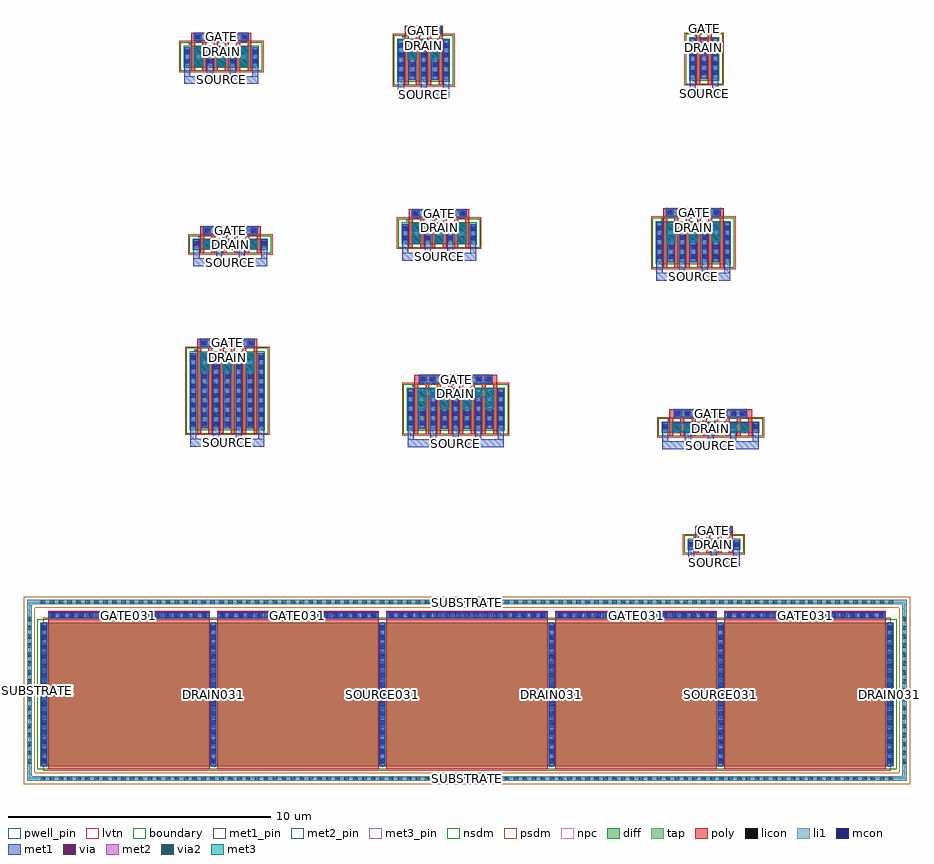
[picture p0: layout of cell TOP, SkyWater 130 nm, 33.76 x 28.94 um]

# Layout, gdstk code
import gdstk
lib = gdstk.Library(unit=1e-6, precision=1e-09)
def R(c, l, rs):  # rectangles x0, y0, x1, y1
    for r in rs: c.add(gdstk.rectangle(r[:2], r[2:], *l))
def A(c, l, x, y, w, h, nx, ny, dx, dy):  # array of equal rectangles
    R(c, l, [(x+i*dx, y+j*dy, x+i*dx+w, y+j*dy+h) for i in range(nx) for j in range(ny)])
diff = (65, 20)
tap = (65, 44)
poly = (66, 20)
licon = (66, 44)
li1 = (67, 20)
mcon = (67, 44)
met1_pin = (68, 16)
met1 = (68, 20)
via = (68, 44)
met2_pin = (69, 16)
met2 = (69, 20)
via2 = (69, 44)
met3_pin = (70, 16)
met3 = (70, 20)
nsdm = (93, 44)
psdm = (94, 20)
npc = (95, 20)
pwell_pin = (122, 16)
lvtn = (125, 44)
boundary = (235, 4)

top = lib.new_cell('TOP')
A(top, diff, 5015.401, 15982.327, 0.28, 0.42, 3, 1, 0.43, 0)
A(top, diff, 5015.431, 15982.327, 0.25, 0.42, 3, 1, 0.86, 0)
A(top, diff, 5015.681, 15982.327, 0.15, 0.42, 4, 1, 0.43, 0)
A(top, diff, 5016.261, 15982.327, 0.28, 0.42, 3, 1, 0.43, 0)
A(top, diff, 5014.414, 15986.782, 0.28, 0.42, 3, 1, 0.43, 0)
A(top, diff, 5014.444, 15986.782, 0.25, 0.42, 4, 1, 0.86, 0)
A(top, diff, 5014.694, 15986.782, 0.15, 0.42, 8, 1, 0.43, 0)
A(top, diff, 5015.274, 15986.782, 0.28, 0.42, 3, 1, 0.43, 0)
A(top, diff, 5016.134, 15986.782, 0.28, 0.42, 3, 1, 0.43, 0)
A(top, diff, 5016.994, 15986.782, 0.28, 0.42, 3, 1, 0.43, 0)
A(top, diff, 5004.707, 15986.856, 0.28, 1.65, 3, 1, 0.43, 0)
A(top, diff, 5004.737, 15986.856, 0.25, 1.65, 4, 1, 0.86, 0)
A(top, diff, 5004.987, 15986.856, 0.15, 1.65, 8, 1, 0.43, 0)
A(top, diff, 5005.567, 15986.856, 0.28, 1.65, 3, 1, 0.43, 0)
A(top, diff, 5006.427, 15986.856, 0.28, 1.65, 3, 1, 0.43, 0)
A(top, diff, 5007.287, 15986.856, 0.28, 1.65, 3, 1, 0.43, 0)
A(top, diff, 4996.438, 15986.886, 0.28, 3, 3, 1, 0.43, 0)
A(top, diff, 4996.468, 15986.886, 0.25, 3, 4, 1, 0.86, 0)
A(top, diff, 4996.718, 15986.886, 0.15, 3, 6, 1, 0.43, 0)
A(top, diff, 4997.298, 15986.886, 0.28, 3, 3, 1, 0.43, 0)
A(top, diff, 4998.158, 15986.886, 0.28, 3, 3, 1, 0.43, 0)
A(top, diff, 5014.188, 15993.199, 0.28, 1.65, 3, 1, 0.43, 0)
A(top, diff, 5014.218, 15993.199, 0.25, 1.65, 4, 1, 0.86, 0)
A(top, diff, 5014.468, 15993.199, 0.15, 1.65, 6, 1, 0.43, 0)
A(top, diff, 5015.048, 15993.199, 0.28, 1.65, 3, 1, 0.43, 0)
A(top, diff, 5015.908, 15993.199, 0.28, 1.65, 3, 1, 0.43, 0)
A(top, diff, 4996.556, 15993.749, 0.28, 0.42, 3, 1, 0.43, 0)
A(top, diff, 4996.586, 15993.749, 0.25, 0.42, 4, 1, 0.86, 0)
A(top, diff, 4996.836, 15993.749, 0.15, 0.42, 6, 1, 0.43, 0)
A(top, diff, 4997.416, 15993.749, 0.28, 0.42, 3, 1, 0.43, 0)
A(top, diff, 4998.276, 15993.749, 0.28, 0.42, 3, 1, 0.43, 0)
A(top, diff, 5004.507, 15993.971, 0.28, 0.84, 3, 1, 0.43, 0)
A(top, diff, 5004.537, 15993.971, 0.25, 0.84, 4, 1, 0.86, 0)
A(top, diff, 5004.787, 15993.971, 0.15, 0.84, 6, 1, 0.43, 0)
A(top, diff, 5005.367, 15993.971, 0.28, 0.84, 3, 1, 0.43, 0)
A(top, diff, 5006.227, 15993.971, 0.28, 0.84, 3, 1, 0.43, 0)
A(top, diff, 5004.344, 16000.151, 0.28, 1.65, 3, 1, 0.43, 0)
A(top, diff, 5004.374, 16000.151, 0.25, 1.65, 3, 1, 0.86, 0)
A(top, diff, 5004.624, 16000.151, 0.15, 1.65, 4, 1, 0.43, 0)
A(top, diff, 5005.204, 16000.151, 0.28, 1.65, 3, 1, 0.43, 0)
A(top, diff, 5015.454, 16000.199, 0.28, 1.65, 3, 1, 0.43, 0)
A(top, diff, 4996.21, 16000.695, 0.28, 0.84, 3, 1, 0.43, 0)
A(top, diff, 4996.24, 16000.695, 0.25, 0.84, 4, 1, 0.86, 0)
A(top, diff, 4996.49, 16000.695, 0.15, 0.84, 6, 1, 0.43, 0)
A(top, diff, 4997.07, 16000.695, 0.28, 0.84, 3, 1, 0.43, 0)
A(top, diff, 4997.93, 16000.695, 0.28, 0.84, 3, 1, 0.43, 0)
R(top, diff, [(4990.752,15974.096,5023.242,15979.556), (5017.121,15982.327,5017.401,15982.747), (5017.854,15986.782,5018.134,15987.202), (5017.854,15986.782,5018.104,15987.202), (5017.884,15986.782,5018.134,15987.202), (5008.147,15986.856,5008.397,15988.506), (5008.147,15986.856,5008.427,15988.506), (5008.177,15986.856,5008.427,15988.506), (4999.018,15986.886,4999.298,15989.886), (5016.768,15993.199,5017.048,15994.849), (4999.136,15993.749,4999.416,15994.169), (5007.087,15993.971,5007.367,15994.811), (5006.064,16000.151,5006.344,16001.801), (5015.484,16000.199,5015.734,16001.849), (5015.734,16000.199,5015.884,16001.849), (5016.164,16000.199,5016.314,16001.849), (5016.314,16000.199,5016.594,16001.849), (4998.79,16000.695,4999.07,16001.535)])
R(top, tap, [(4990.242,15973.536,5023.752,15973.706), (4990.242,15973.706,4990.412,15980.256), (5023.582,15973.706,5023.752,15980.256), (4990.242,15980.256,5023.752,15980.426)])
A(top, poly, 4991.042, 15973.966, 6.15, 6.03, 5, 1, 6.44, 0)
A(top, poly, 5015.681, 15982.197, 0.15, 0.13, 4, 2, 0.43, 0.55)
A(top, poly, 5015.681, 15982.197, 0.15, 0.68, 4, 1, 0.43, 0)
A(top, poly, 5014.694, 15986.652, 0.15, 0.13, 8, 2, 0.43, 0.55)
A(top, poly, 5014.694, 15986.652, 0.15, 0.68, 8, 1, 0.43, 0)
A(top, poly, 5004.987, 15986.726, 0.15, 0.13, 8, 2, 0.43, 1.78)
A(top, poly, 5004.987, 15986.726, 0.15, 1.91, 8, 1, 0.43, 0)
A(top, poly, 4996.718, 15986.756, 0.15, 0.13, 6, 2, 0.43, 3.13)
A(top, poly, 4996.718, 15986.756, 0.15, 3.26, 6, 1, 0.43, 0)
A(top, poly, 5014.468, 15993.069, 0.15, 0.13, 6, 2, 0.43, 1.78)
A(top, poly, 5014.468, 15993.069, 0.15, 1.91, 6, 1, 0.43, 0)
A(top, poly, 4996.836, 15993.619, 0.15, 0.13, 6, 2, 0.43, 0.55)
A(top, poly, 4996.836, 15993.619, 0.15, 0.68, 6, 1, 0.43, 0)
A(top, poly, 5004.787, 15993.841, 0.15, 1.1, 6, 1, 0.43, 0)
A(top, poly, 5004.787, 15993.841, 0.15, 0.13, 6, 2, 0.43, 0.97)
A(top, poly, 5004.624, 16000.021, 0.15, 0.13, 4, 2, 0.43, 1.78)
A(top, poly, 5004.624, 16000.021, 0.15, 1.91, 4, 1, 0.43, 0)
A(top, poly, 4996.49, 16000.565, 0.15, 1.1, 6, 1, 0.43, 0)
A(top, poly, 4996.49, 16000.565, 0.15, 0.13, 6, 2, 0.43, 0.97)
R(top, poly, [(5015.681,15982.877,5017.121,15983.232), (5015.726,15982.902,5017.076,15983.232), (5014.694,15987.332,5017.854,15987.687), (5014.919,15987.357,5017.629,15987.687), (5004.987,15988.636,5008.147,15988.991), (5005.212,15988.661,5007.922,15988.991), (4996.718,15990.016,4999.018,15990.371), (4996.853,15990.041,4998.883,15990.371), (4996.836,15994.299,4999.136,15994.654), (4996.971,15994.324,4999.001,15994.654), (5004.787,15994.941,5007.087,15995.296), (5004.922,15994.966,5006.952,15995.296), (5014.468,15994.979,5016.768,15995.334), (5014.603,15995.004,5016.633,15995.334), (5015.734,16000.069,5015.884,16000.199), (5015.734,16000.069,5015.884,16001.979), (5016.164,16000.069,5016.314,16000.199), (5016.164,16000.069,5016.314,16001.979), (4996.49,16001.665,4998.79,16002.02), (4996.625,16001.69,4998.655,16002.02), (5015.734,16001.849,5015.884,16001.979), (5016.164,16001.849,5016.314,16001.979), (5004.624,16001.931,5006.064,16002.286), (5004.669,16001.956,5006.019,16002.286), (5015.734,16001.979,5016.314,16002.334), (5015.689,16002.004,5016.359,16002.334)])
A(top, licon, 4990.762, 15973.536, 0.17, 0.17, 96, 2, 0.34, 6.72)
A(top, licon, 4990.242, 15974.176, 0.17, 0.17, 1, 17, 0, 0.34)
A(top, licon, 5023.582, 15974.176, 0.17, 0.17, 1, 17, 0, 0.34)
A(top, licon, 4990.812, 15974.191, 0.17, 0.17, 6, 16, 6.44, 0.34)
A(top, licon, 4991.142, 15979.746, 0.17, 0.17, 18, 1, 0.34, 0)
A(top, licon, 4997.582, 15979.746, 0.17, 0.17, 18, 1, 0.34, 0)
A(top, licon, 5004.022, 15979.746, 0.17, 0.17, 18, 1, 0.34, 0)
A(top, licon, 5010.462, 15979.746, 0.17, 0.17, 18, 1, 0.34, 0)
A(top, licon, 5016.902, 15979.746, 0.17, 0.17, 18, 1, 0.34, 0)
A(top, licon, 5015.456, 15982.447, 0.17, 0.17, 5, 1, 0.43, 0)
A(top, licon, 5015.806, 15982.982, 0.17, 0.17, 4, 1, 0.34, 0)
A(top, licon, 5014.469, 15986.937, 0.17, 0.17, 9, 1, 0.43, 0)
A(top, licon, 4996.493, 15987.041, 0.17, 0.17, 7, 8, 0.43, 0.36)
A(top, licon, 5004.762, 15987.071, 0.17, 0.17, 9, 4, 0.43, 0.36)
A(top, licon, 5014.999, 15987.437, 0.17, 0.17, 8, 1, 0.34, 0)
A(top, licon, 5005.292, 15988.741, 0.17, 0.17, 8, 1, 0.34, 0)
A(top, licon, 4996.933, 15990.121, 0.17, 0.17, 6, 1, 0.34, 0)
A(top, licon, 5014.243, 15993.414, 0.17, 0.17, 7, 4, 0.43, 0.36)
A(top, licon, 4996.611, 15993.904, 0.17, 0.17, 7, 1, 0.43, 0)
A(top, licon, 5004.562, 15994.126, 0.17, 0.17, 7, 2, 0.43, 0.36)
A(top, licon, 4997.051, 15994.404, 0.17, 0.17, 6, 1, 0.34, 0)
A(top, licon, 5005.002, 15995.046, 0.17, 0.17, 6, 1, 0.34, 0)
A(top, licon, 5014.683, 15995.084, 0.17, 0.17, 6, 1, 0.34, 0)
A(top, licon, 5004.399, 16000.366, 0.17, 0.17, 5, 4, 0.43, 0.36)
A(top, licon, 5015.509, 16000.414, 0.17, 0.17, 3, 4, 0.43, 0.36)
A(top, licon, 4996.265, 16000.85, 0.17, 0.17, 7, 2, 0.43, 0.36)
A(top, licon, 4996.705, 16001.77, 0.17, 0.17, 6, 1, 0.34, 0)
A(top, licon, 5004.749, 16002.036, 0.17, 0.17, 4, 1, 0.34, 0)
R(top, licon, [(5015.769,16002.084,5015.939,16002.254), (5016.109,16002.084,5016.279,16002.254)])
A(top, li1, 4990.812, 15974.076, 0.17, 5.5, 6, 1, 6.44, 0)
A(top, li1, 4991.042, 15979.746, 6.15, 0.17, 5, 1, 6.44, 0)
A(top, li1, 5015.456, 15982.367, 0.17, 0.33, 5, 1, 0.43, 0)
A(top, li1, 5014.469, 15986.857, 0.17, 0.33, 9, 1, 0.43, 0)
A(top, li1, 5004.762, 15986.931, 0.17, 1.53, 9, 1, 0.43, 0)
A(top, li1, 4996.493, 15986.961, 0.17, 2.85, 7, 1, 0.43, 0)
A(top, li1, 5014.243, 15993.274, 0.17, 1.53, 7, 1, 0.43, 0)
A(top, li1, 4996.611, 15993.824, 0.17, 0.33, 7, 1, 0.43, 0)
A(top, li1, 5004.562, 15994.046, 0.17, 0.69, 7, 1, 0.43, 0)
A(top, li1, 5004.399, 16000.226, 0.17, 1.53, 5, 1, 0.43, 0)
A(top, li1, 5015.509, 16000.274, 0.17, 1.53, 3, 1, 0.43, 0)
A(top, li1, 4996.265, 16000.77, 0.17, 0.69, 7, 1, 0.43, 0)
R(top, li1, [(4990.242,15973.536,5023.752,15973.706), (4990.242,15973.706,4990.412,15980.256), (5023.582,15973.706,5023.752,15980.256), (4990.242,15980.256,5023.752,15980.426), (5015.726,15982.902,5017.076,15983.232), (5015.776,15982.982,5017.026,15983.152), (5014.919,15987.357,5017.629,15987.687), (5014.929,15987.437,5017.619,15987.607), (5005.212,15988.661,5007.922,15988.991), (5005.222,15988.741,5007.912,15988.911), (4996.853,15990.041,4998.883,15990.371), (4996.883,15990.121,4998.853,15990.291), (4996.971,15994.324,4999.001,15994.654), (4997.001,15994.404,4998.971,15994.574), (5004.922,15994.966,5006.952,15995.296), (5014.603,15995.004,5016.633,15995.334), (5004.952,15995.046,5006.922,15995.216), (5014.633,15995.084,5016.603,15995.254), (4996.625,16001.69,4998.655,16002.02), (4996.655,16001.77,4998.625,16001.94), (5004.669,16001.956,5006.019,16002.286), (5015.689,16002.004,5016.359,16002.334), (5004.719,16002.036,5005.969,16002.206), (5015.759,16002.084,5016.289,16002.254)])
A(top, mcon, 4990.812, 15974.221, 0.17, 0.17, 6, 15, 6.44, 0.36)
A(top, mcon, 4991.152, 15979.746, 0.17, 0.17, 17, 1, 0.36, 0)
A(top, mcon, 4997.592, 15979.746, 0.17, 0.17, 17, 1, 0.36, 0)
A(top, mcon, 5004.032, 15979.746, 0.17, 0.17, 17, 1, 0.36, 0)
A(top, mcon, 5010.472, 15979.746, 0.17, 0.17, 17, 1, 0.36, 0)
A(top, mcon, 5016.912, 15979.746, 0.17, 0.17, 17, 1, 0.36, 0)
A(top, mcon, 5015.456, 15982.447, 0.17, 0.17, 5, 1, 0.43, 0)
A(top, mcon, 5015.776, 15982.982, 0.17, 0.17, 4, 1, 0.36, 0)
A(top, mcon, 5014.469, 15986.937, 0.17, 0.17, 9, 1, 0.43, 0)
A(top, mcon, 4996.493, 15987.041, 0.17, 0.17, 7, 8, 0.43, 0.36)
A(top, mcon, 5004.762, 15987.071, 0.17, 0.17, 9, 4, 0.43, 0.36)
A(top, mcon, 5014.929, 15987.437, 0.17, 0.17, 8, 1, 0.36, 0)
A(top, mcon, 5005.222, 15988.741, 0.17, 0.17, 8, 1, 0.36, 0)
A(top, mcon, 4996.883, 15990.121, 0.17, 0.17, 6, 1, 0.36, 0)
A(top, mcon, 5014.243, 15993.414, 0.17, 0.17, 7, 4, 0.43, 0.36)
A(top, mcon, 4996.611, 15993.904, 0.17, 0.17, 7, 1, 0.43, 0)
A(top, mcon, 5004.562, 15994.126, 0.17, 0.17, 7, 2, 0.43, 0.36)
A(top, mcon, 4997.001, 15994.404, 0.17, 0.17, 6, 1, 0.36, 0)
A(top, mcon, 5004.952, 15995.046, 0.17, 0.17, 6, 1, 0.36, 0)
A(top, mcon, 5014.633, 15995.084, 0.17, 0.17, 6, 1, 0.36, 0)
A(top, mcon, 5004.399, 16000.366, 0.17, 0.17, 5, 4, 0.43, 0.36)
A(top, mcon, 5015.509, 16000.414, 0.17, 0.17, 3, 4, 0.43, 0.36)
A(top, mcon, 4996.265, 16000.85, 0.17, 0.17, 7, 2, 0.43, 0.36)
A(top, mcon, 4996.655, 16001.77, 0.17, 0.17, 6, 1, 0.36, 0)
A(top, mcon, 5004.719, 16002.036, 0.17, 0.17, 4, 1, 0.36, 0)
R(top, mcon, [(5015.759,16002.084,5015.929,16002.254), (5016.119,16002.084,5016.289,16002.254)])
R(top, met1_pin, [(5015.426,15981.702,5017.376,15982.002), (5015.716,15982.922,5017.086,15983.212), (5014.439,15986.157,5018.109,15986.457), (5004.732,15986.231,5008.402,15986.531), (4996.463,15986.261,4999.273,15986.561), (5014.869,15987.377,5017.679,15987.667), (5005.162,15988.681,5007.972,15988.971), (4996.823,15990.061,4998.913,15990.351), (5014.213,15992.574,5017.023,15992.874), (4996.581,15993.124,4999.391,15993.424), (5004.532,15993.346,5007.342,15993.646), (4996.941,15994.344,4999.031,15994.634), (5004.892,15994.986,5006.982,15995.276), (5014.573,15995.024,5016.663,15995.314), (5004.369,15999.526,5006.319,15999.826), (5015.479,15999.574,5016.569,15999.874), (4996.235,16000.07,4999.045,16000.37), (4996.595,16001.71,4998.685,16002), (5004.659,16001.976,5006.029,16002.266), (5015.699,16002.024,5016.349,16002.314)])
A(top, met1, 4990.782, 15974.096, 0.23, 5.46, 6, 1, 6.44, 0)
A(top, met1, 4991.062, 15979.716, 6.11, 0.23, 5, 1, 6.44, 0)
A(top, met1, 5014.854, 15986.877, 0.26, 0.23, 4, 1, 0.86, 0)
A(top, met1, 4996.878, 15986.981, 0.26, 0.65, 3, 1, 0.86, 0)
R(top, met1, [(5015.716,15982.922,5017.086,15983.212), (5014.869,15987.377,5017.679,15987.667), (5005.162,15988.681,5007.972,15988.971), (4996.823,15990.061,4998.913,15990.351), (4996.941,15994.344,4999.031,15994.634), (5004.892,15994.986,5006.982,15995.276), (5014.573,15995.024,5016.663,15995.314), (4996.595,16001.71,4998.685,16002), (5004.659,16001.976,5006.029,16002.266), (5015.699,16002.024,5016.349,16002.314)])
A(top, via, 5014.909, 15986.947, 0.15, 0.15, 4, 1, 0.86, 0)
A(top, via, 5005.202, 15987.841, 0.15, 0.15, 4, 2, 0.86, 0.32)
A(top, via, 4996.933, 15989.221, 0.15, 0.15, 3, 2, 0.86, 0.32)
A(top, via, 4997.051, 15993.904, 0.15, 0.15, 3, 1, 0.86, 0)
A(top, via, 5005.002, 15994.146, 0.15, 0.15, 3, 2, 0.86, 0.32)
A(top, via, 5014.683, 15994.184, 0.15, 0.15, 3, 2, 0.86, 0.32)
A(top, via, 4996.705, 16000.87, 0.15, 0.15, 3, 2, 0.86, 0.32)
R(top, via, [(5015.896,15982.447,5016.046,15982.597), (5016.756,15982.447,5016.906,15982.597), (5004.839,16001.136,5004.989,16001.286), (5005.699,16001.136,5005.849,16001.286), (5015.949,16001.224,5016.099,16001.374), (5004.839,16001.456,5004.989,16001.606), (5005.699,16001.456,5005.849,16001.606), (5015.949,16001.544,5016.099,16001.694)])
R(top, met2_pin, [(5015.894,16001.139,5016.154,16001.779)])
A(top, met2, 5014.819, 15986.772, 0.33, 0.42, 4, 1, 0.86, 0)
A(top, met2, 5014.854, 15986.872, 0.26, 0.22, 4, 1, 0.86, 0)
A(top, met2, 5005.112, 15987.691, 0.33, 0.77, 4, 1, 0.86, 0)
A(top, met2, 5005.147, 15987.756, 0.26, 0.64, 4, 1, 0.86, 0)
A(top, met2, 4996.843, 15989.071, 0.33, 0.77, 3, 1, 0.86, 0)
A(top, met2, 4996.878, 15989.136, 0.26, 0.64, 3, 1, 0.86, 0)
A(top, met2, 4996.986, 15993.774, 0.28, 0.37, 3, 1, 0.86, 0)
A(top, met2, 5004.912, 15993.996, 0.33, 0.77, 3, 1, 0.86, 0)
A(top, met2, 5014.593, 15994.034, 0.33, 0.77, 3, 1, 0.86, 0)
A(top, met2, 5004.947, 15994.061, 0.26, 0.64, 3, 1, 0.86, 0)
A(top, met2, 5014.628, 15994.099, 0.26, 0.64, 3, 1, 0.86, 0)
A(top, met2, 4996.615, 16000.72, 0.33, 0.77, 3, 1, 0.86, 0)
A(top, met2, 4996.65, 16000.785, 0.26, 0.64, 3, 1, 0.86, 0)
R(top, met2, [(5015.831,15982.352,5016.111,15982.737), (5016.691,15982.352,5016.971,15982.722), (5004.749,16000.986,5005.079,16001.756), (5005.609,16000.986,5005.939,16001.756), (5004.784,16001.051,5005.044,16001.691), (5005.644,16001.051,5005.904,16001.691), (5015.894,16001.139,5016.154,16001.779)])
A(top, via2, 5014.884, 15986.892, 0.2, 0.2, 4, 1, 0.86, 0)
A(top, via2, 5005.177, 15987.776, 0.2, 0.2, 4, 2, 0.86, 0.4)
A(top, via2, 4996.908, 15989.156, 0.2, 0.2, 3, 2, 0.86, 0.4)
A(top, via2, 4997.026, 15993.859, 0.2, 0.2, 3, 1, 0.86, 0)
A(top, via2, 5004.977, 15994.081, 0.2, 0.2, 3, 2, 0.86, 0.4)
A(top, via2, 5014.658, 15994.119, 0.2, 0.2, 3, 2, 0.86, 0.4)
A(top, via2, 4996.68, 16000.805, 0.2, 0.2, 3, 2, 0.86, 0.4)
R(top, via2, [(5015.871,15982.437,5016.071,15982.637), (5016.731,15982.437,5016.931,15982.637), (5004.814,16001.071,5005.014,16001.271), (5005.674,16001.071,5005.874,16001.271), (5004.814,16001.471,5005.014,16001.671), (5005.674,16001.471,5005.874,16001.671)])
R(top, met3_pin, [(5015.806,15982.372,5016.996,15982.702), (5014.819,15986.827,5017.729,15987.157), (5005.112,15988.131,5008.022,15988.461), (4996.843,15989.511,4998.893,15989.841), (4996.961,15993.794,4999.011,15994.124), (5004.912,15994.436,5006.962,15994.766), (5014.593,15994.474,5016.643,15994.804), (4996.615,16001.16,4998.665,16001.49), (5004.749,16001.426,5005.939,16001.756)])
A(top, met3, 5005.112, 15987.691, 0.33, 0.77, 4, 1, 0.86, 0)
A(top, met3, 4996.843, 15989.071, 0.33, 0.77, 3, 1, 0.86, 0)
A(top, met3, 5004.912, 15993.996, 0.33, 0.77, 3, 1, 0.86, 0)
A(top, met3, 5014.593, 15994.034, 0.33, 0.77, 3, 1, 0.86, 0)
A(top, met3, 4996.615, 16000.72, 0.33, 0.77, 3, 1, 0.86, 0)
R(top, met3, [(5004.749,16000.986,5005.079,16001.756), (5005.609,16000.986,5005.939,16001.756)])
A(top, nsdm, 5015.431, 15982.197, 0.4, 0.68, 4, 1, 0.43, 0)
A(top, nsdm, 5015.701, 15982.197, 0.54, 0.68, 3, 1, 0.43, 0)
A(top, nsdm, 5014.444, 15986.652, 0.4, 0.68, 7, 1, 0.43, 0)
A(top, nsdm, 5014.714, 15986.652, 0.54, 0.68, 7, 1, 0.43, 0)
A(top, nsdm, 5004.737, 15986.726, 0.4, 1.91, 7, 1, 0.43, 0)
A(top, nsdm, 5005.007, 15986.726, 0.54, 1.91, 7, 1, 0.43, 0)
A(top, nsdm, 4996.468, 15986.756, 0.4, 3.26, 6, 1, 0.43, 0)
A(top, nsdm, 4996.738, 15986.756, 0.54, 3.26, 5, 1, 0.43, 0)
A(top, nsdm, 5014.218, 15993.069, 0.4, 1.91, 6, 1, 0.43, 0)
A(top, nsdm, 5014.488, 15993.069, 0.54, 1.91, 5, 1, 0.43, 0)
A(top, nsdm, 4996.586, 15993.619, 0.4, 0.68, 6, 1, 0.43, 0)
A(top, nsdm, 4996.856, 15993.619, 0.54, 0.68, 5, 1, 0.43, 0)
A(top, nsdm, 5004.537, 15993.841, 0.4, 1.1, 6, 1, 0.43, 0)
A(top, nsdm, 5004.807, 15993.841, 0.54, 1.1, 5, 1, 0.43, 0)
A(top, nsdm, 5004.374, 16000.021, 0.4, 1.91, 4, 1, 0.43, 0)
A(top, nsdm, 5004.644, 16000.021, 0.54, 1.91, 3, 1, 0.43, 0)
A(top, nsdm, 4996.24, 16000.565, 0.4, 1.1, 6, 1, 0.43, 0)
A(top, nsdm, 4996.51, 16000.565, 0.54, 1.1, 5, 1, 0.43, 0)
R(top, nsdm, [(4990.627,15973.971,5023.367,15979.681), (5015.266,15982.197,5015.811,15982.877), (5016.991,15982.197,5017.536,15982.877), (5014.279,15986.652,5014.824,15987.332), (5017.454,15986.652,5018.104,15987.332), (5017.724,15986.652,5018.269,15987.332), (5004.572,15986.726,5005.117,15988.636), (5007.747,15986.726,5008.397,15988.636), (5008.017,15986.726,5008.562,15988.636), (4996.303,15986.756,4996.848,15990.016), (4998.888,15986.756,4999.433,15990.016), (5014.053,15993.069,5014.598,15994.979), (5016.638,15993.069,5017.183,15994.979), (4996.421,15993.619,4996.966,15994.299), (4999.006,15993.619,4999.551,15994.299), (5004.372,15993.841,5004.917,15994.941), (5006.957,15993.841,5007.502,15994.941), (5004.209,16000.021,5004.754,16001.931), (5005.934,16000.021,5006.479,16001.931), (5015.319,16000.069,5015.864,16001.979), (5015.484,16000.069,5015.884,16001.979), (5015.754,16000.069,5016.294,16001.979), (5015.914,16000.069,5016.314,16001.979), (5016.184,16000.069,5016.729,16001.979), (4996.075,16000.565,4996.62,16001.665), (4998.66,16000.565,4999.205,16001.665)])
R(top, psdm, [(4990.117,15973.411,5023.877,15973.831), (4990.117,15973.831,4990.537,15980.131), (5023.457,15973.831,5023.877,15980.131), (4990.117,15980.131,5023.877,15980.551)])
A(top, npc, 4991.042, 15979.646, 6.15, 0.37, 5, 1, 6.44, 0)
R(top, npc, [(5015.706,15982.882,5017.096,15983.252), (5014.899,15987.337,5017.649,15987.707), (5005.192,15988.641,5007.942,15989.011), (4996.833,15990.021,4998.903,15990.391), (4996.951,15994.304,4999.021,15994.674), (5004.902,15994.946,5006.972,15995.316), (5014.583,15994.984,5016.653,15995.354), (4996.605,16001.67,4998.675,16002.04), (5004.649,16001.936,5006.039,16002.306), (5015.669,16001.984,5016.379,16002.354)])
R(top, pwell_pin, [(5015.611,15982.797,5015.666,15982.832), (5014.634,15987.227,5014.689,15987.297), (5004.917,15988.531,5004.972,15988.606), (4996.618,15989.911,4996.708,15989.971), (4996.761,15994.209,4996.826,15994.279), (5004.692,15994.841,5004.772,15994.916), (5014.403,15994.869,5014.453,15994.954), (4996.395,16001.565,4996.475,16001.64), (5004.534,16001.821,5004.614,16001.916), (5015.664,16001.884,5015.714,16001.964)])
R(top, lvtn, [(4990.862,15973.916,5023.132,15979.736), (5015.221,15982.147,5017.581,15982.927), (5014.234,15986.602,5018.314,15987.382), (5004.527,15986.676,5008.607,15988.686), (4996.258,15986.706,4999.478,15990.066), (5014.008,15993.019,5017.228,15995.029), (4996.376,15993.569,4999.596,15994.349), (5004.327,15993.791,5007.547,15994.991), (5004.164,15999.971,5006.524,16001.981), (5015.274,16000.019,5016.774,16002.029), (4996.03,16000.515,4999.25,16001.715)])
R(top, boundary, [(4990.327,15973.621,5023.667,15980.341)])
top.add(gdstk.FlexPath([(5016.454,16001.804),(5016.454,15999.574)], 0.23, ends="flush", simple_path=True, layer=68, datatype=20))  # met1
top.add(gdstk.FlexPath([(5016.024,16001.804),(5016.024,16000.274)], 0.26, ends="flush", simple_path=True, layer=68, datatype=20))  # met1
top.add(gdstk.FlexPath([(5015.479,15999.724),(5016.569,15999.724)], 0.3, ends="flush", simple_path=True, layer=68, datatype=20))  # met1
top.add(gdstk.FlexPath([(5015.594,16001.804),(5015.594,15999.574)], 0.23, ends="flush", simple_path=True, layer=68, datatype=20))  # met1
top.add(gdstk.FlexPath([(5005.774,16001.756),(5005.774,16000.226)], 0.26, ends="flush", simple_path=True, layer=68, datatype=20))  # met1
top.add(gdstk.FlexPath([(5004.914,16001.756),(5004.914,16000.226)], 0.26, ends="flush", simple_path=True, layer=68, datatype=20))  # met1
top.add(gdstk.FlexPath([(5004.369,15999.676),(5006.319,15999.676)], 0.3, ends="flush", simple_path=True, layer=68, datatype=20))  # met1
top.add(gdstk.FlexPath([(5004.484,16001.756),(5004.484,15999.526)], 0.23, ends="flush", simple_path=True, layer=68, datatype=20))  # met1
top.add(gdstk.FlexPath([(5005.344,16001.756),(5005.344,15999.526)], 0.23, ends="flush", simple_path=True, layer=68, datatype=20))  # met1
top.add(gdstk.FlexPath([(5006.204,16001.756),(5006.204,15999.526)], 0.23, ends="flush", simple_path=True, layer=68, datatype=20))  # met1
top.add(gdstk.FlexPath([(4998.93,16001.46),(4998.93,16000.07)], 0.23, ends="flush", simple_path=True, layer=68, datatype=20))  # met1
top.add(gdstk.FlexPath([(4998.07,16001.46),(4998.07,16000.07)], 0.23, ends="flush", simple_path=True, layer=68, datatype=20))  # met1
top.add(gdstk.FlexPath([(4996.235,16000.22),(4999.045,16000.22)], 0.3, ends="flush", simple_path=True, layer=68, datatype=20))  # met1
top.add(gdstk.FlexPath([(4997.21,16001.46),(4997.21,16000.07)], 0.23, ends="flush", simple_path=True, layer=68, datatype=20))  # met1
top.add(gdstk.FlexPath([(4998.5,16001.46),(4998.5,16000.77)], 0.26, ends="flush", simple_path=True, layer=68, datatype=20))  # met1
top.add(gdstk.FlexPath([(4997.64,16001.46),(4997.64,16000.77)], 0.26, ends="flush", simple_path=True, layer=68, datatype=20))  # met1
top.add(gdstk.FlexPath([(4996.78,16001.46),(4996.78,16000.77)], 0.26, ends="flush", simple_path=True, layer=68, datatype=20))  # met1
top.add(gdstk.FlexPath([(4996.35,16001.46),(4996.35,16000.07)], 0.23, ends="flush", simple_path=True, layer=68, datatype=20))  # met1
top.add(gdstk.FlexPath([(5014.328,15994.804),(5014.328,15992.574)], 0.23, ends="flush", simple_path=True, layer=68, datatype=20))  # met1
top.add(gdstk.FlexPath([(5014.758,15994.804),(5014.758,15993.274)], 0.26, ends="flush", simple_path=True, layer=68, datatype=20))  # met1
top.add(gdstk.FlexPath([(5015.618,15994.804),(5015.618,15993.274)], 0.26, ends="flush", simple_path=True, layer=68, datatype=20))  # met1
top.add(gdstk.FlexPath([(5016.478,15994.804),(5016.478,15993.274)], 0.26, ends="flush", simple_path=True, layer=68, datatype=20))  # met1
top.add(gdstk.FlexPath([(5015.188,15994.804),(5015.188,15992.574)], 0.23, ends="flush", simple_path=True, layer=68, datatype=20))  # met1
top.add(gdstk.FlexPath([(5016.048,15994.804),(5016.048,15992.574)], 0.23, ends="flush", simple_path=True, layer=68, datatype=20))  # met1
top.add(gdstk.FlexPath([(5016.908,15994.804),(5016.908,15992.574)], 0.23, ends="flush", simple_path=True, layer=68, datatype=20))  # met1
top.add(gdstk.FlexPath([(5014.213,15992.724),(5017.023,15992.724)], 0.3, ends="flush", simple_path=True, layer=68, datatype=20))  # met1
top.add(gdstk.FlexPath([(5007.227,15994.736),(5007.227,15993.346)], 0.23, ends="flush", simple_path=True, layer=68, datatype=20))  # met1
top.add(gdstk.FlexPath([(5006.367,15994.736),(5006.367,15993.346)], 0.23, ends="flush", simple_path=True, layer=68, datatype=20))  # met1
top.add(gdstk.FlexPath([(5004.532,15993.496),(5007.342,15993.496)], 0.3, ends="flush", simple_path=True, layer=68, datatype=20))  # met1
top.add(gdstk.FlexPath([(5005.507,15994.736),(5005.507,15993.346)], 0.23, ends="flush", simple_path=True, layer=68, datatype=20))  # met1
top.add(gdstk.FlexPath([(5006.797,15994.736),(5006.797,15994.046)], 0.26, ends="flush", simple_path=True, layer=68, datatype=20))  # met1
top.add(gdstk.FlexPath([(5005.937,15994.736),(5005.937,15994.046)], 0.26, ends="flush", simple_path=True, layer=68, datatype=20))  # met1
top.add(gdstk.FlexPath([(5005.077,15994.736),(5005.077,15994.046)], 0.26, ends="flush", simple_path=True, layer=68, datatype=20))  # met1
top.add(gdstk.FlexPath([(5004.647,15994.736),(5004.647,15993.346)], 0.23, ends="flush", simple_path=True, layer=68, datatype=20))  # met1
top.add(gdstk.FlexPath([(4997.986,15994.154),(4997.986,15993.814)], 0.26, ends="flush", simple_path=True, layer=68, datatype=20))  # met1
top.add(gdstk.FlexPath([(4997.126,15994.154),(4997.126,15993.814)], 0.26, ends="flush", simple_path=True, layer=68, datatype=20))  # met1
top.add(gdstk.FlexPath([(4996.696,15994.154),(4996.696,15993.124)], 0.23, ends="flush", simple_path=True, layer=68, datatype=20))  # met1
top.add(gdstk.FlexPath([(4999.276,15994.154),(4999.276,15993.124)], 0.23, ends="flush", simple_path=True, layer=68, datatype=20))  # met1
top.add(gdstk.FlexPath([(4998.416,15994.154),(4998.416,15993.124)], 0.23, ends="flush", simple_path=True, layer=68, datatype=20))  # met1
top.add(gdstk.FlexPath([(4996.581,15993.274),(4999.391,15993.274)], 0.3, ends="flush", simple_path=True, layer=68, datatype=20))  # met1
top.add(gdstk.FlexPath([(4997.556,15994.154),(4997.556,15993.124)], 0.23, ends="flush", simple_path=True, layer=68, datatype=20))  # met1
top.add(gdstk.FlexPath([(4998.846,15994.154),(4998.846,15993.814)], 0.26, ends="flush", simple_path=True, layer=68, datatype=20))  # met1
top.add(gdstk.FlexPath([(5017.134,15987.192),(5017.134,15986.157)], 0.23, ends="flush", simple_path=True, layer=68, datatype=20))  # met1
top.add(gdstk.FlexPath([(5017.994,15987.192),(5017.994,15986.157)], 0.23, ends="flush", simple_path=True, layer=68, datatype=20))  # met1
top.add(gdstk.FlexPath([(5016.274,15987.192),(5016.274,15986.157)], 0.23, ends="flush", simple_path=True, layer=68, datatype=20))  # met1
top.add(gdstk.FlexPath([(5014.439,15986.307),(5018.109,15986.307)], 0.3, ends="flush", simple_path=True, layer=68, datatype=20))  # met1
top.add(gdstk.FlexPath([(5015.414,15987.192),(5015.414,15986.157)], 0.23, ends="flush", simple_path=True, layer=68, datatype=20))  # met1
top.add(gdstk.FlexPath([(5017.564,15987.192),(5017.564,15986.857)], 0.26, ends="flush", simple_path=True, layer=68, datatype=20))  # met1
top.add(gdstk.FlexPath([(5016.704,15987.192),(5016.704,15986.857)], 0.26, ends="flush", simple_path=True, layer=68, datatype=20))  # met1
top.add(gdstk.FlexPath([(5015.844,15987.192),(5015.844,15986.857)], 0.26, ends="flush", simple_path=True, layer=68, datatype=20))  # met1
top.add(gdstk.FlexPath([(5014.984,15987.192),(5014.984,15986.857)], 0.26, ends="flush", simple_path=True, layer=68, datatype=20))  # met1
top.add(gdstk.FlexPath([(5014.554,15987.192),(5014.554,15986.157)], 0.23, ends="flush", simple_path=True, layer=68, datatype=20))  # met1
top.add(gdstk.FlexPath([(5004.847,15988.461),(5004.847,15986.231)], 0.23, ends="flush", simple_path=True, layer=68, datatype=20))  # met1
top.add(gdstk.FlexPath([(5005.277,15988.461),(5005.277,15986.931)], 0.26, ends="flush", simple_path=True, layer=68, datatype=20))  # met1
top.add(gdstk.FlexPath([(5006.137,15988.461),(5006.137,15986.931)], 0.26, ends="flush", simple_path=True, layer=68, datatype=20))  # met1
top.add(gdstk.FlexPath([(5006.997,15988.461),(5006.997,15986.931)], 0.26, ends="flush", simple_path=True, layer=68, datatype=20))  # met1
top.add(gdstk.FlexPath([(5007.857,15988.461),(5007.857,15986.931)], 0.26, ends="flush", simple_path=True, layer=68, datatype=20))  # met1
top.add(gdstk.FlexPath([(5005.707,15988.461),(5005.707,15986.231)], 0.23, ends="flush", simple_path=True, layer=68, datatype=20))  # met1
top.add(gdstk.FlexPath([(5004.732,15986.381),(5008.402,15986.381)], 0.3, ends="flush", simple_path=True, layer=68, datatype=20))  # met1
top.add(gdstk.FlexPath([(5006.567,15988.461),(5006.567,15986.231)], 0.23, ends="flush", simple_path=True, layer=68, datatype=20))  # met1
top.add(gdstk.FlexPath([(5008.287,15988.461),(5008.287,15986.231)], 0.23, ends="flush", simple_path=True, layer=68, datatype=20))  # met1
top.add(gdstk.FlexPath([(5007.427,15988.461),(5007.427,15986.231)], 0.23, ends="flush", simple_path=True, layer=68, datatype=20))  # met1
top.add(gdstk.FlexPath([(4996.463,15986.411),(4999.273,15986.411)], 0.3, ends="flush", simple_path=True, layer=68, datatype=20))  # met1
top.add(gdstk.FlexPath([(4999.158,15989.811),(4999.158,15986.261)], 0.23, ends="flush", simple_path=True, layer=68, datatype=20))  # met1
top.add(gdstk.FlexPath([(4998.298,15989.811),(4998.298,15986.261)], 0.23, ends="flush", simple_path=True, layer=68, datatype=20))  # met1
top.add(gdstk.FlexPath([(4997.438,15989.811),(4997.438,15986.261)], 0.23, ends="flush", simple_path=True, layer=68, datatype=20))  # met1
top.add(gdstk.FlexPath([(4998.728,15989.811),(4998.728,15986.961)], 0.26, ends="flush", simple_path=True, layer=68, datatype=20))  # met1
top.add(gdstk.FlexPath([(4997.868,15989.811),(4997.868,15986.961)], 0.26, ends="flush", simple_path=True, layer=68, datatype=20))  # met1
top.add(gdstk.FlexPath([(4997.008,15989.811),(4997.008,15986.961)], 0.26, ends="flush", simple_path=True, layer=68, datatype=20))  # met1
top.add(gdstk.FlexPath([(4996.578,15989.811),(4996.578,15986.261)], 0.23, ends="flush", simple_path=True, layer=68, datatype=20))  # met1
top.add(gdstk.FlexPath([(5017.261,15982.697),(5017.261,15981.702)], 0.23, ends="flush", simple_path=True, layer=68, datatype=20))  # met1
top.add(gdstk.FlexPath([(5016.401,15982.697),(5016.401,15981.702)], 0.23, ends="flush", simple_path=True, layer=68, datatype=20))  # met1
top.add(gdstk.FlexPath([(5015.541,15982.697),(5015.541,15981.702)], 0.23, ends="flush", simple_path=True, layer=68, datatype=20))  # met1
top.add(gdstk.FlexPath([(5015.426,15981.852),(5017.376,15981.852)], 0.3, ends="flush", simple_path=True, layer=68, datatype=20))  # met1
top.add(gdstk.FlexPath([(5015.971,15982.697),(5015.971,15982.357)], 0.26, ends="flush", simple_path=True, layer=68, datatype=20))  # met1
top.add(gdstk.FlexPath([(5016.831,15982.697),(5016.831,15982.357)], 0.26, ends="flush", simple_path=True, layer=68, datatype=20))  # met1
top.add(gdstk.FlexPath([(5004.749,16001.591),(5005.939,16001.591)], 0.33, ends="flush", simple_path=True, layer=70, datatype=20))  # met3
top.add(gdstk.FlexPath([(4996.615,16001.325),(4998.665,16001.325)], 0.33, ends="flush", simple_path=True, layer=70, datatype=20))  # met3
top.add(gdstk.FlexPath([(5014.593,15994.639),(5016.643,15994.639)], 0.33, ends="flush", simple_path=True, layer=70, datatype=20))  # met3
top.add(gdstk.FlexPath([(5004.912,15994.601),(5006.962,15994.601)], 0.33, ends="flush", simple_path=True, layer=70, datatype=20))  # met3
top.add(gdstk.FlexPath([(4996.961,15993.959),(4999.011,15993.959)], 0.33, ends="flush", simple_path=True, layer=70, datatype=20))  # met3
top.add(gdstk.FlexPath([(5014.819,15986.992),(5017.729,15986.992)], 0.33, ends="flush", simple_path=True, layer=70, datatype=20))  # met3
top.add(gdstk.FlexPath([(5005.112,15988.296),(5008.022,15988.296)], 0.33, ends="flush", simple_path=True, layer=70, datatype=20))  # met3
top.add(gdstk.FlexPath([(4996.843,15989.676),(4998.893,15989.676)], 0.33, ends="flush", simple_path=True, layer=70, datatype=20))  # met3
top.add(gdstk.FlexPath([(5015.806,15982.537),(5016.996,15982.537)], 0.33, ends="flush", simple_path=True, layer=70, datatype=20))  # met3
top.add(gdstk.Label('SOURCE', (5016.029,15999.724), layer=68, texttype=16))
top.add(gdstk.Label('GATE', (5016.024,16002.169), layer=68, texttype=16))
top.add(gdstk.Label('GATE', (5005.349,16002.121), layer=68, texttype=16))
top.add(gdstk.Label('SOURCE', (5005.344,15999.676), layer=68, texttype=16))
top.add(gdstk.Label('SOURCE', (4997.66,16000.23), layer=68, texttype=16))
top.add(gdstk.Label('GATE', (4997.665,16001.865), layer=68, texttype=16))
top.add(gdstk.Label('GATE', (5015.643,15995.169), layer=68, texttype=16))
top.add(gdstk.Label('SOURCE', (5015.638,15992.724), layer=68, texttype=16))
top.add(gdstk.Label('SOURCE', (5005.957,15993.506), layer=68, texttype=16))
top.add(gdstk.Label('GATE', (5005.962,15995.141), layer=68, texttype=16))
top.add(gdstk.Label('SOURCE', (4997.996,15993.274), layer=68, texttype=16))
top.add(gdstk.Label('GATE', (4997.991,15994.489), layer=68, texttype=16))
top.add(gdstk.Label('SOURCE', (5016.274,15986.307), layer=68, texttype=16))
top.add(gdstk.Label('GATE', (5016.274,15987.522), layer=68, texttype=16))
top.add(gdstk.Label('GATE', (5006.582,15988.826), layer=68, texttype=16))
top.add(gdstk.Label('SOURCE', (5006.577,15986.381), layer=68, texttype=16))
top.add(gdstk.Label('SOURCE', (4997.888,15986.411), layer=68, texttype=16))
top.add(gdstk.Label('GATE', (4997.893,15990.206), layer=68, texttype=16))
top.add(gdstk.Label('SOURCE', (5016.401,15981.852), layer=68, texttype=16))
top.add(gdstk.Label('GATE', (5016.401,15983.067), layer=68, texttype=16))
top.add(gdstk.Label('DRAIN', (5016.019,16001.459), layer=69, texttype=16))
top.add(gdstk.Label('SUBSTRATE', (5015.689,16001.924), layer=64, texttype=59))
top.add(gdstk.Label('SUBSTRATE', (5004.574,16001.871), layer=64, texttype=59))
top.add(gdstk.Label('SUBSTRATE', (4996.455,16001.605), layer=64, texttype=59))
top.add(gdstk.Label('SUBSTRATE', (5014.428,15994.914), layer=64, texttype=59))
top.add(gdstk.Label('SUBSTRATE', (5004.752,15994.881), layer=64, texttype=59))
top.add(gdstk.Label('SUBSTRATE', (4996.791,15994.244), layer=64, texttype=59))
top.add(gdstk.Label('SUBSTRATE', (5014.664,15987.262), layer=64, texttype=59))
top.add(gdstk.Label('SUBSTRATE', (5004.947,15988.571), layer=64, texttype=59))
top.add(gdstk.Label('SUBSTRATE', (4996.663,15989.941), layer=64, texttype=59))
top.add(gdstk.Label('SUBSTRATE', (5015.636,15982.817), layer=64, texttype=59))
top.add(gdstk.Label('DRAIN', (5005.334,16001.551), layer=70, texttype=16))
top.add(gdstk.Label('DRAIN', (4997.65,16001.315), layer=70, texttype=16))
top.add(gdstk.Label('DRAIN', (5015.628,15994.599), layer=70, texttype=16))
top.add(gdstk.Label('DRAIN', (5005.947,15994.591), layer=70, texttype=16))
top.add(gdstk.Label('DRAIN', (4997.996,15993.949), layer=70, texttype=16))
top.add(gdstk.Label('DRAIN', (5016.274,15986.967), layer=70, texttype=16))
top.add(gdstk.Label('DRAIN', (5006.567,15988.276), layer=70, texttype=16))
top.add(gdstk.Label('DRAIN', (4997.878,15989.666), layer=70, texttype=16))
top.add(gdstk.Label('DRAIN', (5016.396,15982.527), layer=70, texttype=16))
top.add(gdstk.Label('SUBSTRATE', (5006.997,15980.341), layer=67, texttype=5))
top.add(gdstk.Label('SUBSTRATE', (4990.327,15976.981), layer=67, texttype=5))
top.add(gdstk.Label('GATE031', (4994.117,15979.831), layer=67, texttype=5))
top.add(gdstk.Label('GATE031', (5000.557,15979.831), layer=67, texttype=5))
top.add(gdstk.Label('GATE031', (5006.997,15979.831), layer=67, texttype=5))
top.add(gdstk.Label('GATE031', (5013.437,15979.831), layer=67, texttype=5))
top.add(gdstk.Label('GATE031', (5019.877,15979.831), layer=67, texttype=5))
top.add(gdstk.Label('SOURCE031', (4990.897,15976.826), layer=67, texttype=5))
top.add(gdstk.Label('DRAIN031', (4997.337,15976.826), layer=67, texttype=5))
top.add(gdstk.Label('SOURCE031', (5003.777,15976.826), layer=67, texttype=5))
top.add(gdstk.Label('DRAIN031', (5010.217,15976.826), layer=67, texttype=5))
top.add(gdstk.Label('SOURCE031', (5016.657,15976.826), layer=67, texttype=5))
top.add(gdstk.Label('DRAIN031', (5023.097,15976.826), layer=67, texttype=5))
top.add(gdstk.Label('SUBSTRATE', (5023.667,15976.981), layer=67, texttype=5))
top.add(gdstk.Label('SUBSTRATE', (5006.997,15973.621), layer=67, texttype=5))

lib.write_gds('TOP.gds')
